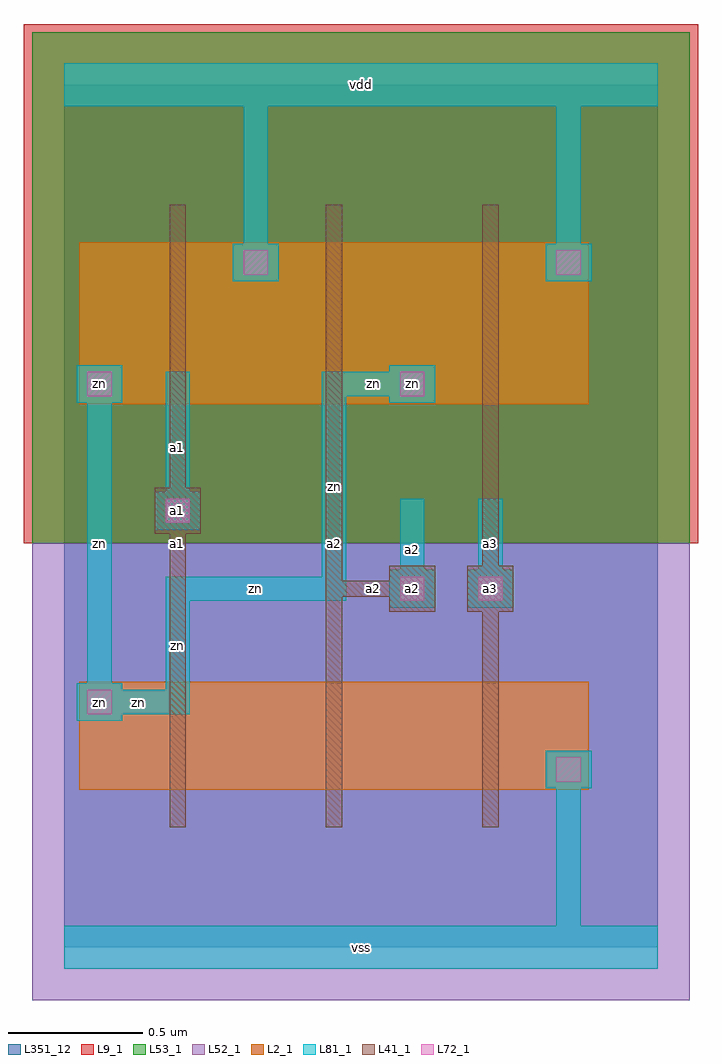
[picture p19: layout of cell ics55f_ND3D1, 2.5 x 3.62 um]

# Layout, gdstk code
import gdstk
lib = gdstk.Library(unit=1e-6, precision=1e-09)
def R(c, l, rs):  # rectangles x0, y0, x1, y1
    for r in rs: c.add(gdstk.rectangle(r[:2], r[2:], *l))
def A(c, l, x, y, w, h, nx, ny, dx, dy):  # array of equal rectangles
    R(c, l, [(x+i*dx, y+j*dy, x+i*dx+w, y+j*dy+h) for i in range(nx) for j in range(ny)])
def P(c, l, *ps):  # polygons
    for p in ps: c.add(gdstk.Polygon(p, *l))
L0_0 = (0, 0)
L2_1 = (2, 1)
L9_1 = (9, 1)
L41_1 = (41, 1)
L52_1 = (52, 1)
L53_1 = (53, 1)
L72_1 = (72, 1)
L81_1 = (81, 1)
L351_12 = (351, 12)

ics55f_nd3d1 = lib.new_cell('ics55f_ND3D1')
A(ics55f_nd3d1, L2_1, 0.055, 0.585, 0.73, 0.4, 3, 1, 0.58, 0)
A(ics55f_nd3d1, L2_1, 0.055, 2.015, 0.73, 0.6, 3, 1, 0.58, 0)
R(ics55f_nd3d1, L2_1, [(1.795,0.585,1.945,0.735), (0.055,0.835,0.205,0.985), (0.055,2.015,0.205,2.165), (1.215,2.015,1.365,2.165), (0.635,2.465,0.785,2.615), (1.795,2.465,1.945,2.615)])
R(ics55f_nd3d1, L9_1, [(-0.15,1.5,2.35,3.425)])
A(ics55f_nd3d1, L41_1, 0.39, 0.445, 0.06, 0.68, 3, 1, 0.58, 0)
A(ics55f_nd3d1, L41_1, 0.39, 0.88, 0.06, 1.24, 3, 1, 0.58, 0)
A(ics55f_nd3d1, L41_1, 0.39, 1.875, 0.06, 0.88, 3, 1, 0.58, 0)
R(ics55f_nd3d1, L41_1, [(1.205,1.245,1.375,1.415), (1.495,1.245,1.665,1.415), (0.97,1.3,1.32,1.36), (0.335,1.535,0.505,1.705)])
R(ics55f_nd3d1, L52_1, [(-0.12,-0.195,2.32,1.5)])
R(ics55f_nd3d1, L53_1, [(-0.12,1.5,2.32,3.395)])
R(ics55f_nd3d1, L72_1, [(1.825,0.615,1.915,0.705), (0.085,0.865,0.175,0.955), (1.245,1.285,1.335,1.375), (1.535,1.285,1.625,1.375), (0.375,1.575,0.465,1.665), (0.085,2.045,0.175,2.135), (1.245,2.045,1.335,2.135), (0.665,2.495,0.755,2.585), (1.825,2.495,1.915,2.585)])
P(ics55f_nd3d1, L81_1, [(0,-0.08),(0,0.08),(1.825,0.08),(1.825,0.59),(1.785,0.59),(1.785,0.73),(1.955,0.73),(1.955,0.59),(1.915,0.59),(1.915,0.08),(2.2,0.08),(2.2,-0.08)],
  [(1.205,1.26),(1.205,1.4),(1.245,1.4),(1.245,1.665),(1.335,1.665),(1.335,1.4),(1.375,1.4),(1.375,1.26)],
  [(1.495,1.26),(1.495,1.4),(1.535,1.4),(1.535,1.665),(1.625,1.665),(1.625,1.4),(1.665,1.4),(1.665,1.26)],
  [(0.335,1.55),(0.335,1.69),(0.375,1.69),(0.375,2.135),(0.465,2.135),(0.465,1.69),(0.505,1.69),(0.505,1.55)],
  [(0.045,0.84),(0.045,0.98),(0.085,0.98),(0.085,2.02),(0.045,2.02),(0.045,2.16),(0.215,2.16),(0.215,2.02),(0.175,2.02),(0.175,0.98),(0.215,0.98),(0.215,0.955),(0.375,0.955),(0.375,1.375),(0.955,1.375),(0.955,2.135),(1.205,2.135),(1.205,2.16),(1.375,2.16),(1.375,2.02),(1.205,2.02),(1.205,2.045),(1.045,2.045),(1.045,1.285),(0.465,1.285),(0.465,0.865),(0.215,0.865),(0.215,0.84)],
  [(0.625,2.47),(0.625,2.61),(0.665,2.61),(0.665,3.12),(0,3.12),(0,3.28),(2.2,3.28),(2.2,3.12),(1.915,3.12),(1.915,2.61),(1.955,2.61),(1.955,2.47),(1.785,2.47),(1.785,2.61),(1.825,2.61),(1.825,3.12),(0.755,3.12),(0.755,2.61),(0.795,2.61),(0.795,2.47)])
R(ics55f_nd3d1, L351_12, [(0,0,2.2,3.2)])
ics55f_nd3d1.add(gdstk.FlexPath([(0.045,0.24),(1.955,0.24)], 0, ends="flush", simple_path=True, layer=0, datatype=0))  # L0_0
ics55f_nd3d1.add(gdstk.FlexPath([(0.045,0.66),(1.955,0.66)], 0, ends="flush", simple_path=True, layer=0, datatype=0))  # L0_0
ics55f_nd3d1.add(gdstk.FlexPath([(0.045,0.91),(1.955,0.91)], 0, ends="flush", simple_path=True, layer=0, datatype=0))  # L0_0
ics55f_nd3d1.add(gdstk.FlexPath([(0.045,1.33),(1.955,1.33)], 0, ends="flush", simple_path=True, layer=0, datatype=0))  # L0_0
ics55f_nd3d1.add(gdstk.FlexPath([(0.045,1.62),(1.955,1.62)], 0, ends="flush", simple_path=True, layer=0, datatype=0))  # L0_0
ics55f_nd3d1.add(gdstk.FlexPath([(0.045,2.09),(1.955,2.09)], 0, ends="flush", simple_path=True, layer=0, datatype=0))  # L0_0
ics55f_nd3d1.add(gdstk.FlexPath([(0.045,2.54),(1.955,2.54)], 0, ends="flush", simple_path=True, layer=0, datatype=0))  # L0_0
ics55f_nd3d1.add(gdstk.FlexPath([(0.045,2.96),(1.955,2.96)], 0, ends="flush", simple_path=True, layer=0, datatype=0))  # L0_0
ics55f_nd3d1.add(gdstk.FlexPath([(0.13,0.03),(0.13,3.17)], 0, ends="flush", simple_path=True, layer=0, datatype=0))  # L0_0
ics55f_nd3d1.add(gdstk.FlexPath([(0.42,0.03),(0.42,3.17)], 0, ends="flush", simple_path=True, layer=0, datatype=0))  # L0_0
ics55f_nd3d1.add(gdstk.FlexPath([(0.71,0.03),(0.71,3.17)], 0, ends="flush", simple_path=True, layer=0, datatype=0))  # L0_0
ics55f_nd3d1.add(gdstk.FlexPath([(1,0.03),(1,3.17)], 0, ends="flush", simple_path=True, layer=0, datatype=0))  # L0_0
ics55f_nd3d1.add(gdstk.FlexPath([(1.29,0.03),(1.29,3.17)], 0, ends="flush", simple_path=True, layer=0, datatype=0))  # L0_0
ics55f_nd3d1.add(gdstk.FlexPath([(1.58,0.03),(1.58,3.17)], 0, ends="flush", simple_path=True, layer=0, datatype=0))  # L0_0
ics55f_nd3d1.add(gdstk.FlexPath([(1.87,0.03),(1.87,3.17)], 0, ends="flush", simple_path=True, layer=0, datatype=0))  # L0_0
ics55f_nd3d1.add(gdstk.Label('zn', (0.13,0.91), layer=2, texttype=1))
ics55f_nd3d1.add(gdstk.Label('zn', (1.29,2.09), layer=2, texttype=1))
ics55f_nd3d1.add(gdstk.Label('zn', (0.13,2.09), layer=2, texttype=1))
ics55f_nd3d1.add(gdstk.Label('a1', (0.42,1.5), layer=41, texttype=1))
ics55f_nd3d1.add(gdstk.Label('a1', (0.42,1.62), layer=41, texttype=1))
ics55f_nd3d1.add(gdstk.Label('a2', (1,1.5), layer=41, texttype=1))
ics55f_nd3d1.add(gdstk.Label('a2', (1.145,1.33), layer=41, texttype=1))
ics55f_nd3d1.add(gdstk.Label('a2', (1.29,1.33), layer=41, texttype=1))
ics55f_nd3d1.add(gdstk.Label('a3', (1.58,1.5), layer=41, texttype=1))
ics55f_nd3d1.add(gdstk.Label('a3', (1.58,1.33), layer=41, texttype=1))
ics55f_nd3d1.add(gdstk.Label('zn', (0.13,0.91), layer=72, texttype=1))
ics55f_nd3d1.add(gdstk.Label('zn', (1.29,2.09), layer=72, texttype=1))
ics55f_nd3d1.add(gdstk.Label('zn', (0.13,2.09), layer=72, texttype=1))
ics55f_nd3d1.add(gdstk.Label('a1', (0.42,1.62), layer=72, texttype=1))
ics55f_nd3d1.add(gdstk.Label('a2', (1.29,1.33), layer=72, texttype=1))
ics55f_nd3d1.add(gdstk.Label('a3', (1.58,1.33), layer=72, texttype=1))
ics55f_nd3d1.add(gdstk.Label('zn', (0.13,0.91), layer=81, texttype=6))
ics55f_nd3d1.add(gdstk.Label('zn', (1.29,2.09), layer=81, texttype=6))
ics55f_nd3d1.add(gdstk.Label('zn', (0.13,2.09), layer=81, texttype=6))
ics55f_nd3d1.add(gdstk.Label('zn', (0.275,0.91), layer=81, texttype=6))
ics55f_nd3d1.add(gdstk.Label('zn', (0.42,1.12), layer=81, texttype=6))
ics55f_nd3d1.add(gdstk.Label('zn', (0.71,1.33), layer=81, texttype=6))
ics55f_nd3d1.add(gdstk.Label('zn', (1,1.71), layer=81, texttype=6))
ics55f_nd3d1.add(gdstk.Label('zn', (1.145,2.09), layer=81, texttype=6))
ics55f_nd3d1.add(gdstk.Label('zn', (0.13,1.5), layer=81, texttype=6))
ics55f_nd3d1.add(gdstk.Label('a1', (0.42,1.62), layer=81, texttype=6))
ics55f_nd3d1.add(gdstk.Label('a1', (0.42,1.855), layer=81, texttype=6))
ics55f_nd3d1.add(gdstk.Label('a2', (1.29,1.33), layer=81, texttype=6))
ics55f_nd3d1.add(gdstk.Label('a2', (1.29,1.475), layer=81, texttype=6))
ics55f_nd3d1.add(gdstk.Label('a3', (1.58,1.33), layer=81, texttype=6))
ics55f_nd3d1.add(gdstk.Label('a3', (1.58,1.475), layer=81, texttype=6))
ics55f_nd3d1.add(gdstk.Label('vss', (1.1,0), layer=81, texttype=6))
ics55f_nd3d1.add(gdstk.Label('vdd', (1.1,3.2), layer=81, texttype=6))

lib.write_gds('ics55f_ND3D1.gds')
